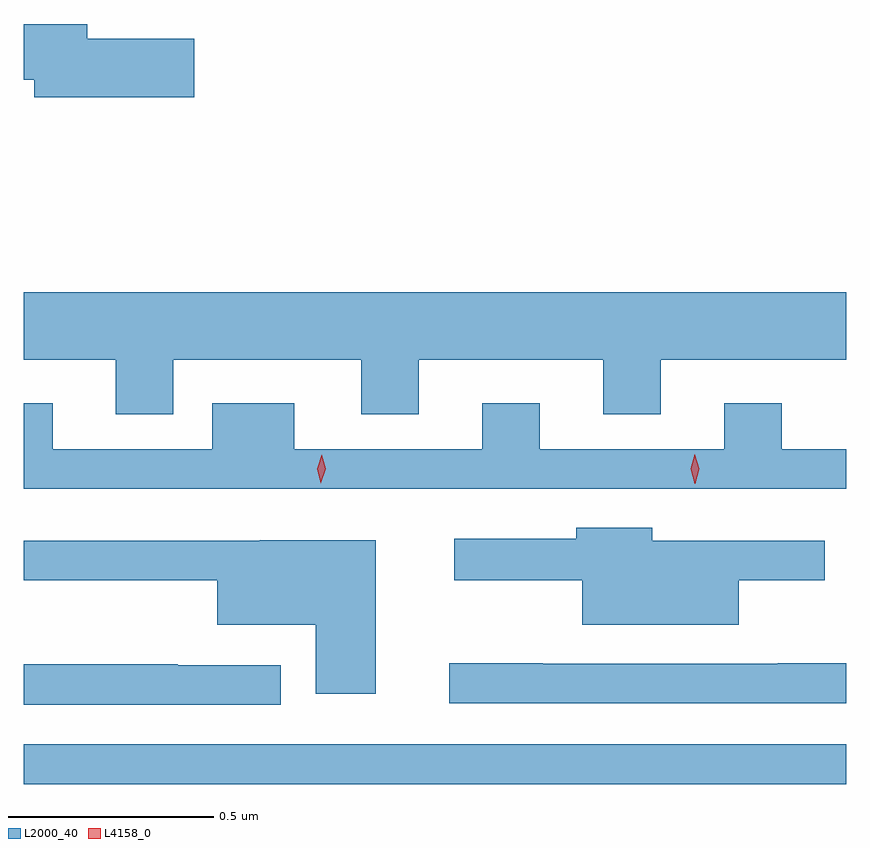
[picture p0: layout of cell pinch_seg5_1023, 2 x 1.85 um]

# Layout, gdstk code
import gdstk
lib = gdstk.Library(unit=1e-6, precision=1e-09)
def R(c, l, rs):  # rectangles x0, y0, x1, y1
    for r in rs: c.add(gdstk.rectangle(r[:2], r[2:], *l))
def P(c, l, *ps):  # polygons
    for p in ps: c.add(gdstk.Polygon(p, *l))
L2000_40 = (2000, 40)
L4158_0 = (4158, 0)

pinch_seg5_1023 = lib.new_cell('pinch_seg5_1023')
R(pinch_seg5_1023, L2000_40, [(734.082,871.712,736.082,871.809)])
P(pinch_seg5_1023, L2000_40, [(734.497,873.524),(734.236,873.524),(734.236,873.56),(734.082,873.56),(734.082,873.424),(734.108,873.424),(734.108,873.382),(734.497,873.382)],
  [(734.446,872.744),(734.903,872.744),(734.903,872.611),(735.043,872.611),(735.043,872.744),(735.491,872.744),(735.491,872.611),(735.631,872.611),(735.631,872.744),(736.082,872.744),(736.082,872.908),(734.082,872.908),(734.082,872.744),(734.306,872.744),(734.306,872.611),(734.446,872.611)],
  [(736.082,872.526),(735.925,872.526),(735.925,872.638),(735.785,872.638),(735.785,872.526),(735.337,872.526),(735.337,872.638),(735.197,872.638),(735.197,872.526),(734.74,872.526),(734.74,872.638),(734.54,872.638),(734.54,872.526),(734.152,872.526),(734.152,872.638),(734.082,872.638),(734.082,872.43),(736.082,872.43)],
  [(735.82,872.207),(736.03,872.207),(736.03,872.304),(735.61,872.304),(735.61,872.335),(735.426,872.335),(735.426,872.308),(735.129,872.308),(735.129,872.207),(735.44,872.207),(735.44,872.099),(735.82,872.099)],
  [(734.938,872.305),(734.656,872.305),(734.656,872.304),(734.082,872.304),(734.082,872.207),(734.552,872.207),(734.552,872.099),(734.792,872.099),(734.792,871.932),(734.938,871.932)],
  [(736.082,872.006),(735.916,872.006),(735.916,872.004),(735.344,872.004),(735.344,872.006),(735.117,872.006),(735.117,871.908),(736.082,871.908)],
  [(734.707,872.001),(734.456,872.001),(734.456,872.003),(734.082,872.003),(734.082,871.905),(734.707,871.905)])
P(pinch_seg5_1023, L4158_0, [(735.714,872.442),(735.704,872.478),(735.713,872.514),(735.713,872.514),(735.713,872.514),(735.724,872.478),(735.715,872.442),(735.715,872.442)],
  [(734.804,872.443),(734.804,872.443),(734.796,872.479),(734.807,872.513),(734.807,872.513),(734.807,872.513),(734.816,872.478),(734.804,872.443)])

lib.write_gds('pinch_seg5_1023.gds')
